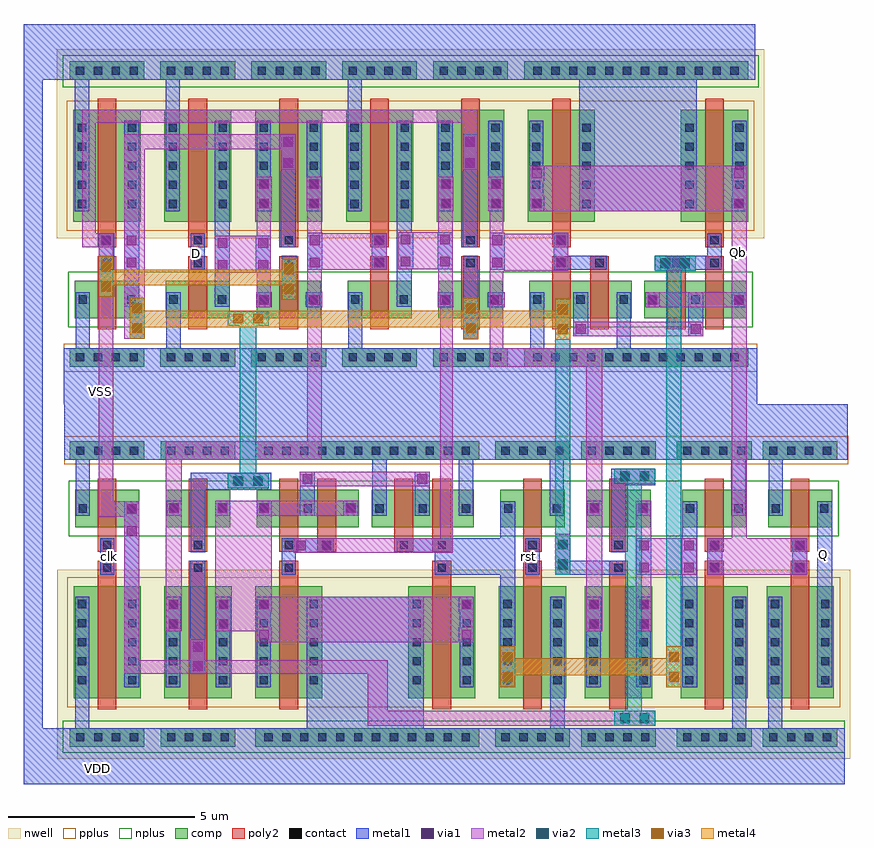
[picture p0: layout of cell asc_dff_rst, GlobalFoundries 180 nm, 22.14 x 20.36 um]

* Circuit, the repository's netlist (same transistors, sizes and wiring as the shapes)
** sch_path: /foss/designs/libs/core_analog/asc_dff_rst/asc_dff_rst.sch
.subckt asc_dff_rst clk D Qb vdd vss Q rst
*.PININFO clk:B vdd:B vss:B D:B Q:B Qb:B rst:B
x1 net3 vdd net2 vss inv1u05u
x2 clk vdd clkb vss inv1u05u
x3 net1 vss clkb net3 clka vdd pass1u05u
x5 net3 vss clka net6 clkb vdd pass1u05u
x6 net2 vss clka net5 clkb vdd pass1u05u
x8 Qb vdd net4 vss inv1u05u
x9 net5 vss clkb net4 clka vdd pass1u05u
x10 clkb vdd clka vss inv1u05u
x11 D vdd net1 vss inv1u05u
x12 Qb vdd Q vss inv1u05u
x13 rst vdd rstb vss inv1u05u
x4 vdd net6 net2 rstb vss asc_NAND
x7 vdd Qb rstb net5 vss asc_NAND
.ends

* expanding   symbol:  libs/core_analog/inv1u05u/inv1u05u.sym # of pins=4
** sym_path: /foss/designs/libs/core_analog/inv1u05u/inv1u05u.sym
** sch_path: /foss/designs/libs/core_analog/inv1u05u/inv1u05u.sch
.subckt inv1u05u in vdd out vss
*.PININFO in:B out:B vss:B vdd:B
M1 out in vdd vdd pfet_03v3 L=0.5u W=3.0u nf=1 m=1
M2 out in vss vss nfet_03v3 L=0.5u W=1.0u nf=1 m=1
.ends


* expanding   symbol:  libs/core_analog/pass1u05u/pass1u05u.sym # of pins=6
** sym_path: /foss/designs/libs/core_analog/pass1u05u/pass1u05u.sym
** sch_path: /foss/designs/libs/core_analog/pass1u05u/pass1u05u.sch
.subckt pass1u05u ind vss clkn ins clkp vdd
*.PININFO ind:B ins:B clkn:B clkp:B vdd:B vss:B
M1 ind clkp ins vdd pfet_03v3 L=0.5u W=3.0u nf=1 m=1
M2 ind clkn ins vss nfet_03v3 L=0.5u W=1.0u nf=1 m=1
.ends


* expanding   symbol:  libs/core_analog/asc_NAND/asc_NAND.sym # of pins=5
** sym_path: /foss/designs/libs/core_analog/asc_NAND/asc_NAND.sym
** sch_path: /foss/designs/libs/core_analog/asc_NAND/asc_NAND.sch
.subckt asc_NAND VDD OUT A B VSS
*.PININFO VDD:B VSS:B B:B A:B OUT:B
M1 OUT A net1 VSS nfet_03v3 L=0.5u W=2u nf=2 m=1
M2 OUT A VDD VDD pfet_03v3 L=0.5u W=3u nf=1 m=1
M3 net1 B VSS VSS nfet_03v3 L=0.5u W=2u nf=2 m=1
M4 OUT B VDD VDD pfet_03v3 L=0.5u W=3u nf=1 m=1
.ends

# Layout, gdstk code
from math import pi, radians
import gdstk
lib = gdstk.Library(unit=1e-6, precision=5e-09)
def R(c, l, rs):  # rectangles x0, y0, x1, y1
    for r in rs: c.add(gdstk.rectangle(r[:2], r[2:], *l))
def A(c, l, x, y, w, h, nx, ny, dx, dy):  # array of equal rectangles
    R(c, l, [(x+i*dx, y+j*dy, x+i*dx+w, y+j*dy+h) for i in range(nx) for j in range(ny)])
nwell = (21, 0)
comp = (22, 0)
poly2 = (30, 0)
pplus = (31, 0)
nplus = (32, 0)
contact = (33, 0)
metal1 = (34, 0)
via1 = (35, 0)
metal2 = (36, 0)
via2 = (38, 0)
via3 = (40, 0)
metal3 = (42, 0)
metal4 = (46, 0)

pfet = lib.new_cell('pfet')
R(pfet, nwell, [(-0.9,-0.44,1.78,3.44)])
R(pfet, comp, [(-0.46,0,0,3), (0,0,0.88,3), (0.88,0,1.34,3)])
R(pfet, poly2, [(0.19,-0.68,0.69,-0.3), (0.19,-0.3,0.69,3.3)])
R(pfet, pplus, [(-0.63,-0.24,1.51,3.24)])
A(pfet, contact, -0.34, 0.37, 0.22, 0.22, 1, 5, 0, 0.51)
A(pfet, contact, 1, 0.37, 0.22, 0.22, 1, 5, 0, 0.51)
R(pfet, contact, [(0.33,-0.6,0.55,-0.38)])
R(pfet, metal1, [(0.25,-0.68,0.63,-0.3), (-0.42,0.29,-0.04,2.71), (0.92,0.29,1.3,2.71)])

via_dev = lib.new_cell('via_dev')
R(via_dev, comp, [(0,0,2,0.5)])
A(via_dev, contact, 0.17, 0.14, 0.22, 0.22, 4, 1, 0.48, 0)
R(via_dev, metal1, [(0,0,2,0.5)])

nfet = lib.new_cell('nfet')
R(nfet, comp, [(-0.42,0,0,1), (0,0,0.88,1), (0.88,0,1.3,1)])
R(nfet, poly2, [(0.19,-0.3,0.69,1.3), (0.19,1.3,0.69,1.66)])
R(nfet, nplus, [(-0.59,-0.24,1.47,1.24)])
R(nfet, contact, [(-0.32,0.39,-0.1,0.61), (0.98,0.39,1.2,0.61), (0.33,1.37,0.55,1.59)])
R(nfet, metal1, [(-0.4,0.31,-0.02,0.69), (0.9,0.31,1.28,0.69), (0.25,1.29,0.63,1.67)])

via_dev_2 = lib.new_cell('via_dev$2')
R(via_dev_2, metal1, [(0,0,0.4,0.4)])
R(via_dev_2, via1, [(0.07,0.07,0.33,0.33)])
R(via_dev_2, metal2, [(0,0,0.4,0.4)])

via_dev_6 = lib.new_cell('via_dev$6')
R(via_dev_6, comp, [(0,0,6,0.5)])
A(via_dev_6, contact, 0.25, 0.14, 0.22, 0.22, 12, 1, 0.48, 0)
R(via_dev_6, metal1, [(0,0,6,0.5)])

nfet_2 = lib.new_cell('nfet$2')
R(nfet_2, comp, [(-0.42,0,0,1), (0,0,1.9,1), (1.9,0,2.32,1)])
R(nfet_2, poly2, [(0.19,-0.3,0.69,1.3), (1.21,-0.3,1.71,1.3), (0.19,1.3,0.69,1.66), (1.21,1.3,1.71,1.66)])
R(nfet_2, nplus, [(-0.59,-0.24,2.49,1.24)])
A(nfet_2, contact, -0.32, 0.39, 0.22, 0.22, 3, 1, 1.16, 0)
R(nfet_2, contact, [(0.33,1.37,0.55,1.59), (1.35,1.37,1.57,1.59)])
A(nfet_2, metal1, -0.4, 0.31, 0.38, 0.38, 3, 1, 1.16, 0)
R(nfet_2, metal1, [(0.25,1.29,0.63,1.67), (1.27,1.29,1.65,1.67)])

pfet_2 = lib.new_cell('pfet$2')
R(pfet_2, nwell, [(-0.9,-0.44,1.78,3.44)])
R(pfet_2, comp, [(-0.46,0,0,3), (0,0,0.88,3), (0.88,0,1.34,3)])
R(pfet_2, poly2, [(0.19,-0.68,0.69,-0.3), (0.19,-0.3,0.69,3.3)])
R(pfet_2, pplus, [(-0.63,-0.24,1.51,3.24)])
A(pfet_2, contact, -0.34, 0.37, 0.22, 0.22, 1, 5, 0, 0.51)
A(pfet_2, contact, 1, 0.37, 0.22, 0.22, 1, 5, 0, 0.51)
R(pfet_2, contact, [(0.33,-0.6,0.55,-0.38)])
R(pfet_2, metal1, [(0.25,-0.68,0.63,-0.3), (-0.42,0.29,-0.04,2.71), (0.92,0.29,1.3,2.71)])

via_dev_8 = lib.new_cell('via_dev$8')
R(via_dev_8, metal1, [(0,0,0.4,0.4)])
R(via_dev_8, via1, [(0.07,0.07,0.33,0.33)])
R(via_dev_8, metal2, [(0,0,0.4,0.4)])

via_dev_5 = lib.new_cell('via_dev$5')
R(via_dev_5, metal1, [(0,0,0.4,0.4)])
R(via_dev_5, via1, [(0.07,0.07,0.33,0.33)])
R(via_dev_5, metal2, [(0,0,0.4,0.4)])

via_dev_7 = lib.new_cell('via_dev$7')

via_dev_10 = lib.new_cell('via_dev$10')
R(via_dev_10, metal1, [(0,0,1.1,0.4)])
R(via_dev_10, via1, [(0.155,0.07,0.415,0.33), (0.685,0.07,0.945,0.33)])
R(via_dev_10, metal2, [(0,0,1.1,0.4)])
R(via_dev_10, via2, [(0.155,0.07,0.415,0.33), (0.685,0.07,0.945,0.33)])
R(via_dev_10, metal3, [(0,0,1.1,0.4)])

via_dev_11 = lib.new_cell('via_dev$11')
R(via_dev_11, metal1, [(0,0,1.1,0.4)])
R(via_dev_11, via1, [(0.155,0.07,0.415,0.33), (0.685,0.07,0.945,0.33)])
R(via_dev_11, metal2, [(0,0,1.1,0.4)])
R(via_dev_11, via2, [(0.155,0.07,0.415,0.33), (0.685,0.07,0.945,0.33)])
R(via_dev_11, via3, [(0.155,0.07,0.415,0.33), (0.685,0.07,0.945,0.33)])
R(via_dev_11, metal3, [(0,0,1.1,0.4)])
R(via_dev_11, metal4, [(0,0,1.1,0.4)])

via_dev_13 = lib.new_cell('via_dev$13')
R(via_dev_13, via3, [(0.155,0.07,0.415,0.33), (0.685,0.07,0.945,0.33)])
R(via_dev_13, metal3, [(0,0,1.1,0.4)])
R(via_dev_13, metal4, [(0,0,1.1,0.4)])

via_dev_3 = lib.new_cell('via_dev$3')
R(via_dev_3, comp, [(0,0,2,0.5)])
A(via_dev_3, contact, 0.17, 0.14, 0.22, 0.22, 4, 1, 0.48, 0)
R(via_dev_3, metal1, [(0,0,2,0.5)])

nfet_1 = lib.new_cell('nfet$1')
R(nfet_1, comp, [(-0.42,0,0,1), (0,0,0.88,1), (0.88,0,1.3,1)])
R(nfet_1, poly2, [(0.19,-0.3,0.69,1.3), (0.19,1.3,0.69,1.66)])
R(nfet_1, nplus, [(-0.59,-0.24,1.47,1.24)])
R(nfet_1, contact, [(-0.32,0.39,-0.1,0.61), (0.98,0.39,1.2,0.61), (0.33,1.37,0.55,1.59)])
R(nfet_1, metal1, [(-0.4,0.31,-0.02,0.69), (0.9,0.31,1.28,0.69), (0.25,1.29,0.63,1.67)])

via_dev_4 = lib.new_cell('via_dev$4')

via_dev_1 = lib.new_cell('via_dev$1')

pfet_1 = lib.new_cell('pfet$1')
R(pfet_1, nwell, [(-0.9,-0.44,1.78,3.44)])
R(pfet_1, comp, [(-0.46,0,0,3), (0,0,0.88,3), (0.88,0,1.34,3)])
R(pfet_1, poly2, [(0.19,-0.68,0.69,-0.3), (0.19,-0.3,0.69,3.3)])
R(pfet_1, pplus, [(-0.63,-0.24,1.51,3.24)])
A(pfet_1, contact, -0.34, 0.37, 0.22, 0.22, 1, 5, 0, 0.51)
A(pfet_1, contact, 1, 0.37, 0.22, 0.22, 1, 5, 0, 0.51)
R(pfet_1, contact, [(0.33,-0.6,0.55,-0.38)])
R(pfet_1, metal1, [(0.25,-0.68,0.63,-0.3), (-0.42,0.29,-0.04,2.71), (0.92,0.29,1.3,2.71)])

via_dev_12 = lib.new_cell('via_dev$12')
R(via_dev_12, metal2, [(0,0,1.1,0.4)])
R(via_dev_12, via2, [(0.155,0.07,0.415,0.33), (0.685,0.07,0.945,0.33)])
R(via_dev_12, via3, [(0.155,0.07,0.415,0.33), (0.685,0.07,0.945,0.33)])
R(via_dev_12, metal3, [(0,0,1.1,0.4)])
R(via_dev_12, metal4, [(0,0,1.1,0.4)])

via_dev_9 = lib.new_cell('via_dev$9')
R(via_dev_9, metal2, [(0,0,1.1,0.4)])
R(via_dev_9, via2, [(0.155,0.07,0.415,0.33), (0.685,0.07,0.945,0.33)])
R(via_dev_9, metal3, [(0,0,1.1,0.4)])

asc_dff_rst = lib.new_cell('asc_dff_rst')
A(asc_dff_rst, nwell, -60.115, 47.205, 2.68, 1.185, 5, 1, 2.435, 0)
R(asc_dff_rst, nwell, [(-60.11,29.38,-57.43,30.565), (-57.675,29.38,-54.995,30.565), (-55.245,29.38,-48.465,30.565), (-48.715,29.38,-46.035,30.565), (-46.41,29.38,-43.73,30.565), (-43.845,29.38,-41.165,30.565), (-41.545,29.38,-38.865,30.565), (-52.565,30.565,-51.145,34.445), (-45.26,43.325,-43.84,47.205), (-47.94,47.205,-41.16,48.39)])
A(asc_dff_rst, pplus, -59.925, 39.745, 2.435, 0.75, 5, 1, 2.435, 0)
A(asc_dff_rst, pplus, -57.705, 43.525, 0.295, 3.48, 5, 1, 2.435, 0)
R(asc_dff_rst, pplus, [(-57.7,30.765,-57.405,34.245), (-55.265,30.765,-54.975,34.245), (-52.835,30.765,-50.875,34.245), (-48.735,30.765,-48.575,34.245), (-48.575,30.765,-48.445,34.245), (-46.435,30.765,-46.14,34.245), (-44,30.765,-43.705,34.245), (-43.705,30.765,-43.565,34.245), (-41.435,30.765,-41.275,34.245), (-59.92,37.275,-57.485,38.025), (-57.485,37.275,-55.05,38.025), (-48.66,37.275,-46.225,38.025), (-46.225,37.275,-46.22,38.025), (-46.22,37.275,-43.785,38.025), (-43.79,37.275,-41.355,38.025), (-41.355,37.275,-38.92,38.025), (-45.53,43.525,-43.57,47.005)])
A(asc_dff_rst, nplus, -57.745, 40.945, 0.375, 1.48, 5, 1, 2.435, 0)
A(asc_dff_rst, nplus, -59.96, 47.365, 2.385, 0.865, 5, 1, 2.435, 0)
A(asc_dff_rst, nplus, -57.575, 47.365, 0.05, 0.865, 5, 1, 2.435, 0)
R(asc_dff_rst, nplus, [(-59.955,29.54,-57.57,30.405), (-57.57,29.54,-57.52,30.405), (-57.52,29.54,-55.135,30.405), (-55.135,29.54,-55.09,30.405), (-55.09,29.54,-48.62,30.405), (-48.62,29.54,-48.57,30.405), (-48.575,29.54,-46.19,30.405), (-46.305,29.54,-46.255,30.405), (-46.255,29.54,-43.87,30.405), (-43.87,29.54,-43.82,30.405), (-43.82,29.54,-43.7,30.405), (-43.705,29.54,-41.32,30.405), (-41.39,29.54,-39.005,30.405), (-57.74,35.345,-57.365,36.825), (-55.305,35.345,-54.935,36.825), (-48.775,35.345,-48.535,36.825), (-48.535,35.345,-48.4,36.825), (-46.475,35.345,-46.1,36.825), (-44.04,35.345,-43.665,36.825), (-43.665,35.345,-43.535,36.825), (-41.475,35.345,-41.235,36.825), (-47.785,47.365,-41.315,48.23)])
A(asc_dff_rst, metal1, -48.655, 37.385, 2.43, 1.5, 3, 1, 2.435, 0)
A(asc_dff_rst, metal1, -59.925, 38.885, 2.43, 1.5, 5, 1, 2.435, 0)
A(asc_dff_rst, metal1, -57.495, 38.885, 0.005, 1.5, 5, 1, 2.435, 0)
A(asc_dff_rst, metal1, -59.925, 39.885, 0.15, 0.5, 6, 2, 2.435, 7.68)
A(asc_dff_rst, metal1, -57.18, 39.885, 0.38, 1.99, 3, 1, 4.87, 0)
A(asc_dff_rst, metal1, -56.53, 42.475, 0.38, 0.99, 3, 1, 4.87, 0)
A(asc_dff_rst, metal1, -59.925, 47.565, 2.35, 1.5, 5, 1, 2.435, 0)
A(asc_dff_rst, metal1, -57.575, 47.565, 0.085, 1.5, 5, 1, 2.435, 0)
R(asc_dff_rst, metal1, [(-61,28.705,-60.5,49.065), (-61,28.705,-59.92,30.205), (-59.92,28.705,-57.57,30.205), (-57.57,28.705,-57.485,30.205), (-57.485,28.705,-55.135,30.205), (-55.135,28.705,-54.995,30.205), (-54.995,28.705,-48.655,30.205), (-48.655,28.705,-48.575,30.205), (-48.575,28.705,-46.225,30.205), (-46.305,28.705,-46.22,30.205), (-46.22,28.705,-43.87,30.205), (-43.87,28.705,-43.785,30.205), (-43.785,28.705,-43.705,30.205), (-43.705,28.705,-41.355,30.205), (-41.355,28.705,-39.005,30.205), (-59.92,29.705,-59.77,30.205), (-59.63,29.705,-59.25,33.715), (-57.485,29.705,-57.335,30.205), (-54.995,29.705,-54.805,30.205), (-48.805,29.705,-48.655,30.205), (-46.895,29.705,-46.515,33.715), (-46.375,29.705,-46.225,30.205), (-46.22,29.705,-46.07,30.205), (-42.025,29.705,-41.645,33.715), (-41.505,29.705,-41.355,30.205), (-41.355,29.705,-41.205,30.205), (-41.065,29.705,-40.685,33.715), (-53.425,30.205,-50.285,33.715), (-58.31,31.295,-57.91,36.275), (-48.235,31.295,-47.835,36.275), (-43.365,31.295,-42.965,36.275), (-39.745,31.295,-39.345,36.275), (-56.54,31.66,-56.14,34.685), (-56.82,33.195,-56.795,33.315), (-55.475,33.195,-55.455,33.315), (-45.555,33.195,-45.53,33.315), (-44.21,33.195,-44.19,33.315), (-58.96,34.305,-58.58,35.295), (-54.095,34.305,-53.715,35.295), (-49.995,34.305,-49.615,35.295), (-49.995,34.305,-47.835,35.295), (-47.565,34.305,-47.185,35.295), (-46.765,34.305,-44.88,34.685), (-42.695,34.305,-42.315,35.295), (-40.395,34.305,-40.015,35.295), (-44.59,34.705,-44.19,34.895), (-43.38,34.705,-43.365,34.895), (-42.315,34.705,-42.295,34.895), (-40.415,34.705,-40.395,34.895), (-54.095,34.915,-52.695,35.295), (-51.015,34.915,-49.615,35.295), (-45.26,34.915,-44.88,37.15), (-56.525,35.295,-56.145,37.045), (-59.61,35.895,-59.23,37.885), (-53.605,35.895,-53.205,37.075), (-51.665,35.895,-51.285,37.885), (-50.525,35.895,-50.125,37.075), (-49.345,35.895,-48.965,37.885), (-46.915,35.895,-46.535,37.885), (-42.045,35.895,-41.665,37.885), (-41.045,35.895,-40.665,37.885), (-56.525,36.585,-54.375,37.045), (-45.26,36.715,-44.085,37.15), (-59.92,37.385,-57.49,38.885), (-59.92,37.385,-59.77,37.885), (-57.49,37.385,-57.485,38.885), (-57.485,37.385,-55.055,38.885), (-57.485,37.385,-57.335,37.885), (-55.055,37.385,-55.04,38.885), (-55.05,37.385,-48.655,38.885), (-55.05,37.385,-54.805,37.885), (-48.805,37.385,-48.655,37.885), (-46.375,37.385,-46.225,37.885), (-46.225,37.385,-46.22,38.885), (-46.22,37.385,-46.07,37.885), (-43.79,37.385,-43.785,38.885), (-41.505,37.385,-41.355,37.885), (-41.355,37.385,-38.925,38.885), (-41.355,37.385,-41.205,37.885), (-47.75,38.885,-41.355,40.385), (-59.615,39.885,-59.235,41.875), (-45.12,39.885,-44.74,41.875), (-41.6,39.885,-41.355,40.385), (-46.28,40.695,-45.88,41.875), (-43.2,40.695,-42.8,41.875), (-54.38,41.475,-54.365,41.495), (-49.515,41.475,-49.495,41.495), (-48.575,41.475,-48.52,41.495), (-58.315,41.495,-57.915,46.475), (-55.88,41.495,-55.48,46.475), (-51.01,41.495,-50.61,46.475), (-49.225,41.725,-48.825,42.475), (-58.965,42.475,-58.585,43.465), (-46.79,42.475,-45.39,42.855), (-43.71,42.475,-42.31,42.855), (-42.69,42.475,-42.31,43.465), (-53.715,42.78,-53.695,42.855), (-54.785,42.8,-54.385,42.995), (-59,42.875,-58.965,43.065), (-53.405,42.875,-53.005,43.07), (-51.68,42.875,-51.66,43.065), (-48.52,42.875,-48.12,43.07), (-46.81,42.875,-46.79,43.07), (-50.61,42.9,-50.575,43.09), (-49.915,42.9,-49.515,43.09), (-54.115,43.085,-53.715,45.915), (-49.245,43.085,-48.845,45.915), (-59.635,44.055,-59.255,48.065), (-57.2,44.055,-56.82,48.065), (-52.33,44.055,-51.95,48.065), (-46.12,44.055,-42.98,47.565), (-54.39,44.455,-54.365,44.575), (-53.045,44.455,-53.025,44.575), (-49.52,44.455,-49.495,44.575), (-48.175,44.455,-48.155,44.575), (-61,47.565,-59.925,49.065), (-47.75,47.565,-41.41,49.065), (-41.6,47.565,-41.41,48.065)])
R(asc_dff_rst, metal2, [(-51.785,30.26,-44.085,30.665), (-51.785,30.26,-51.25,32.025), (-58.31,31.66,-57.91,36.275), (-58.31,31.66,-56.14,32.025), (-56.54,31.66,-56.14,32.58), (-56.54,31.66,-51.25,32.025), (-54.765,32.505,-54.365,36.295), (-54.765,32.505,-48.945,33.715), (-49.345,32.505,-48.945,33.715), (-57.195,32.795,-56.775,36.295), (-55.875,32.795,-55.455,36.295), (-55.875,32.795,-54.365,36.295), (-45.93,32.795,-45.51,36.295), (-44.61,32.795,-44.19,36.295), (-55.475,33.195,-55.455,33.315), (-44.21,33.195,-44.19,33.315), (-44.61,34.305,-42.98,35.295), (-42.695,34.305,-40.015,35.295), (-42.04,34.305,-41.64,41.97), (-53.775,34.895,-49.515,35.295), (-49.845,34.895,-49.515,41.665), (-59,35.87,-58.6,43.465), (-59,35.87,-57.91,36.275), (-54.765,35.895,-52.045,36.295), (-57.195,36.08,-56.775,37.885), (-45.93,36.295,-45.51,40.385), (-53.605,36.675,-50.125,37.075), (-57.19,37.385,-53.025,37.885), (-53.405,37.385,-53.025,41.585), (-48.525,39.885,-45.51,40.385), (-48.525,39.885,-48.155,41.71), (-58.315,40.635,-57.765,46.11), (-46.28,40.695,-42.8,41.095), (-54.765,41.475,-54.38,44.975), (-53.405,41.475,-53.025,44.975), (-49.895,41.475,-49.515,44.975), (-48.52,41.475,-48.155,44.975), (-44.36,41.475,-41.64,41.875), (-42.04,41.475,-41.64,45.265), (-55.88,42.405,-54.385,43.395), (-48.52,42.455,-46.41,43.45), (-53.025,42.475,-51.28,43.465), (-50.975,42.5,-49.515,43.49), (-59.435,43.085,-58.6,43.465), (-59.435,43.085,-59.075,46.765), (-47.46,44.055,-47.06,45.265), (-47.46,44.055,-41.64,45.265), (-54.38,44.455,-54.365,44.575), (-53.425,44.455,-53.405,44.575), (-53.045,44.455,-53.025,44.575), (-49.515,44.455,-49.495,44.575), (-48.555,44.455,-48.515,44.575), (-48.175,44.455,-48.155,44.575), (-54.115,45.145,-53.715,46.11), (-49.245,45.145,-48.845,46.765), (-58.315,45.71,-53.715,46.11), (-59.43,46.415,-48.85,46.765)])
R(asc_dff_rst, metal3, [(-44.89,30.265,-44.445,37.15), (-43.785,31.295,-43.385,42.855), (-46.765,35.405,-46.365,41.38), (-55.22,36.625,-54.77,41.375)])
R(asc_dff_rst, metal4, [(-48.235,31.62,-43.385,32.07), (-58.165,40.945,-46.365,41.38), (-59,42.07,-53.695,42.485)])
asc_dff_rst.add(gdstk.FlexPath([(-47.75,40.12),(-41.355,40.12)], 0.75, ends="flush", simple_path=True, layer=31, datatype=0))  # pplus
asc_dff_rst.add(gdstk.FlexPath([(-48.655,37.65),(-55.05,37.65)], 0.75, ends="flush", simple_path=True, layer=31, datatype=0))  # pplus
asc_dff_rst.add(gdstk.Reference(pfet, (-49.475,43.765)))
asc_dff_rst.add(gdstk.Reference(via_dev, (-50.035,47.565)))
asc_dff_rst.add(gdstk.Reference(via_dev, (-50.035,39.885)))
asc_dff_rst.add(gdstk.Reference(nfet, (-49.475,41.185)))
asc_dff_rst.add(gdstk.Reference(via_dev_2, (-49.915,41.475)))
asc_dff_rst.add(gdstk.Reference(via_dev_2, (-49.895,44.055)))
asc_dff_rst.add(gdstk.Reference(via_dev_2, (-49.895,44.575)))
asc_dff_rst.add(gdstk.Reference(via_dev_6, (-48.805,30.205), rotation=pi))
asc_dff_rst.add(gdstk.Reference(via_dev_6, (-48.805,37.885), rotation=pi))
asc_dff_rst.add(gdstk.Reference(nfet_2, (-49.365,36.585), rotation=pi))
asc_dff_rst.add(gdstk.Reference(pfet_2, (-49.365,34.005), rotation=pi))
asc_dff_rst.add(gdstk.Reference(via_dev_8, (-49.915,43.09)))
asc_dff_rst.add(gdstk.Reference(via_dev_8, (-49.915,42.5)))
asc_dff_rst.add(gdstk.Reference(via_dev_5, (-42.04,44.055)))
asc_dff_rst.add(gdstk.Reference(via_dev_6, (-47.6,47.565)))
asc_dff_rst.add(gdstk.Reference(via_dev_6, (-47.6,39.885)))
asc_dff_rst.add(gdstk.Reference(pfet_2, (-42.94,43.765)))
asc_dff_rst.add(gdstk.Reference(via_dev_5, (-42.04,41.475)))
asc_dff_rst.add(gdstk.Reference(via_dev_5, (-44.36,41.475)))
asc_dff_rst.add(gdstk.Reference(via_dev_5, (-46.28,40.695)))
asc_dff_rst.add(gdstk.Reference(nfet_2, (-47.04,41.185)))
asc_dff_rst.add(gdstk.Reference(nfet_2, (-43.96,41.185)))
asc_dff_rst.add(gdstk.Reference(pfet_2, (-47.04,43.765)))
asc_dff_rst.add(gdstk.Reference(via_dev_2, (-48.555,44.055)))
asc_dff_rst.add(gdstk.Reference(via_dev_2, (-48.555,44.575)))
asc_dff_rst.add(gdstk.Reference(via_dev_5, (-47.46,44.865)))
asc_dff_rst.add(gdstk.Reference(via_dev_7, (-48.4,39.295), rotation=pi/2))
asc_dff_rst.add(gdstk.Reference(via_dev_2, (-48.52,41.475)))
asc_dff_rst.add(gdstk.Reference(via_dev_5, (-47.46,44.055)))
asc_dff_rst.add(gdstk.Reference(via_dev_5, (-43.2,40.695)))
asc_dff_rst.add(gdstk.Reference(via_dev_8, (-46.81,43.07)))
asc_dff_rst.add(gdstk.Reference(via_dev_8, (-46.81,42.475)))
asc_dff_rst.add(gdstk.Reference(via_dev_8, (-48.52,42.475)))
asc_dff_rst.add(gdstk.Reference(via_dev_8, (-48.52,43.07)))
asc_dff_rst.add(gdstk.Reference(via_dev_10, (-44.105,42.455)))
asc_dff_rst.add(gdstk.Reference(via_dev_11, (-48.825,40.625), rotation=pi/2))
asc_dff_rst.add(gdstk.Reference(via_dev_8, (-49.245,45.145)))
asc_dff_rst.add(gdstk.Reference(via_dev_8, (-49.245,45.71)))
asc_dff_rst.add(gdstk.Reference(via_dev_5, (-42.04,44.865)))
asc_dff_rst.add(gdstk.Reference(via_dev_13, (-46.365,40.605), rotation=pi/2))
asc_dff_rst.add(gdstk.Reference(via_dev_2, (-54.765,44.055)))
asc_dff_rst.add(gdstk.Reference(via_dev_2, (-54.765,44.575)))
asc_dff_rst.add(gdstk.Reference(via_dev_3, (-52.47,47.565)))
asc_dff_rst.add(gdstk.Reference(via_dev_3, (-59.775,47.565)))
asc_dff_rst.add(gdstk.Reference(via_dev_8, (-54.785,42.995)))
asc_dff_rst.add(gdstk.Reference(via_dev_3, (-57.34,47.565)))
asc_dff_rst.add(gdstk.Reference(via_dev_3, (-57.34,39.885)))
asc_dff_rst.add(gdstk.Reference(nfet_1, (-56.78,41.185)))
asc_dff_rst.add(gdstk.Reference(via_dev_4, (-60.575,39.295), rotation=pi/2))
asc_dff_rst.add(gdstk.Reference(via_dev_1, (-50.835,39.295), rotation=pi/2))
asc_dff_rst.add(gdstk.Reference(via_dev_1, (-55.705,39.295), rotation=pi/2))
asc_dff_rst.add(gdstk.Reference(via_dev_4, (-53.27,39.295), rotation=pi/2))
asc_dff_rst.add(gdstk.Reference(via_dev_3, (-59.775,39.885)))
asc_dff_rst.add(gdstk.Reference(nfet_1, (-59.215,41.185)))
asc_dff_rst.add(gdstk.Reference(via_dev_4, (-58.14,39.295), rotation=pi/2))
asc_dff_rst.add(gdstk.Reference(pfet_1, (-59.215,43.765)))
asc_dff_rst.add(gdstk.Reference(via_dev_8, (-54.785,42.405)))
asc_dff_rst.add(gdstk.Reference(via_dev_8, (-55.88,42.995)))
asc_dff_rst.add(gdstk.Reference(via_dev_8, (-55.88,42.405)))
asc_dff_rst.add(gdstk.Reference(via_dev_8, (-53.405,43.07)))
asc_dff_rst.add(gdstk.Reference(via_dev_8, (-53.405,42.475)))
asc_dff_rst.add(gdstk.Reference(via_dev_8, (-51.68,43.065)))
asc_dff_rst.add(gdstk.Reference(via_dev_8, (-51.68,42.475)))
asc_dff_rst.add(gdstk.Reference(pfet_1, (-56.78,43.765)))
asc_dff_rst.add(gdstk.Reference(via_dev_3, (-52.47,39.885)))
asc_dff_rst.add(gdstk.Reference(via_dev_8, (-50.975,43.09)))
asc_dff_rst.add(gdstk.Reference(via_dev_8, (-50.975,42.5)))
asc_dff_rst.add(gdstk.Reference(nfet_1, (-51.91,41.185)))
asc_dff_rst.add(gdstk.Reference(pfet_1, (-51.91,43.765)))
asc_dff_rst.add(gdstk.Reference(via_dev, (-54.905,47.565)))
asc_dff_rst.add(gdstk.Reference(via_dev, (-54.905,39.885)))
asc_dff_rst.add(gdstk.Reference(via_dev_8, (-59,43.065)))
asc_dff_rst.add(gdstk.Reference(via_dev_8, (-59,42.475)))
asc_dff_rst.add(gdstk.Reference(via_dev_8, (-58.315,43.065)))
asc_dff_rst.add(gdstk.Reference(via_dev_8, (-58.315,42.475)))
asc_dff_rst.add(gdstk.Reference(nfet, (-54.345,41.185)))
asc_dff_rst.add(gdstk.Reference(pfet, (-54.345,43.765)))
asc_dff_rst.add(gdstk.Reference(via_dev_2, (-54.78,41.475)))
asc_dff_rst.add(gdstk.Reference(via_dev_8, (-54.115,45.145)))
asc_dff_rst.add(gdstk.Reference(via_dev_8, (-54.115,45.71)))
asc_dff_rst.add(gdstk.Reference(via_dev_2, (-53.405,41.475)))
asc_dff_rst.add(gdstk.Reference(via_dev_2, (-53.425,44.055)))
asc_dff_rst.add(gdstk.Reference(via_dev_2, (-53.425,44.575)))
asc_dff_rst.add(gdstk.Reference(via_dev_11, (-53.695,41.68), rotation=pi/2))
asc_dff_rst.add(gdstk.Reference(via_dev_12, (-57.765,40.635), rotation=pi/2))
asc_dff_rst.add(gdstk.Reference(via_dev_13, (-55.54,40.975)))
asc_dff_rst.add(gdstk.Reference(via_dev_12, (-58.6,41.755), rotation=pi/2))
asc_dff_rst.add(gdstk.Reference(nfet, (-56.775,36.585), x_reflection=True))
asc_dff_rst.add(gdstk.Reference(via_dev_5, (-54.365,32.905), rotation=pi))
asc_dff_rst.add(gdstk.Reference(via_dev_2, (-57.175,36.295), x_reflection=True))
asc_dff_rst.add(gdstk.Reference(via_dev_2, (-55.875,36.295), x_reflection=True))
asc_dff_rst.add(gdstk.Reference(via_dev_2, (-55.855,33.715), x_reflection=True))
asc_dff_rst.add(gdstk.Reference(via_dev_2, (-55.855,33.195), x_reflection=True))
asc_dff_rst.add(gdstk.Reference(via_dev_2, (-57.195,33.715), x_reflection=True))
asc_dff_rst.add(gdstk.Reference(via_dev_2, (-57.195,33.195), x_reflection=True))
asc_dff_rst.add(gdstk.Reference(via_dev_8, (-53.375,35.295), rotation=pi))
asc_dff_rst.add(gdstk.Reference(via_dev_8, (-52.695,35.295), rotation=pi))
asc_dff_rst.add(gdstk.Reference(via_dev_5, (-54.365,33.715), rotation=pi))
asc_dff_rst.add(gdstk.Reference(via_dev_3, (-59.77,37.885), x_reflection=True))
asc_dff_rst.add(gdstk.Reference(nfet_1, (-59.21,36.585), x_reflection=True))
asc_dff_rst.add(gdstk.Reference(via_dev_1, (-58.135,38.475), rotation=3*pi/2, x_reflection=True))
asc_dff_rst.add(gdstk.Reference(via_dev_8, (-58.31,35.875)))
asc_dff_rst.add(gdstk.Reference(via_dev_8, (-58.31,35.285)))
asc_dff_rst.add(gdstk.Reference(pfet_1, (-59.21,34.005), x_reflection=True))
asc_dff_rst.add(gdstk.Reference(via_dev_10, (-55.54,36.625)))
asc_dff_rst.add(gdstk.Reference(pfet, (-56.775,34.005), x_reflection=True))
asc_dff_rst.add(gdstk.Reference(pfet_2, (-53.465,34.005), rotation=pi))
asc_dff_rst.add(gdstk.Reference(via_dev_5, (-54.365,36.295), rotation=pi))
asc_dff_rst.add(gdstk.Reference(via_dev_5, (-52.045,36.295), rotation=pi))
asc_dff_rst.add(gdstk.Reference(via_dev_5, (-50.125,37.075), rotation=pi))
asc_dff_rst.add(gdstk.Reference(via_dev_4, (-60.57,38.475), rotation=3*pi/2, x_reflection=True))
asc_dff_rst.add(gdstk.Reference(via_dev_3, (-59.77,30.205), x_reflection=True))
asc_dff_rst.add(gdstk.Reference(nfet_2, (-52.445,36.585), rotation=pi))
asc_dff_rst.add(gdstk.Reference(via_dev_5, (-53.205,37.075), rotation=pi))
asc_dff_rst.add(gdstk.Reference(via_dev_8, (-56.54,32.06), x_reflection=True))
asc_dff_rst.add(gdstk.Reference(via_dev_8, (-56.54,32.58), x_reflection=True))
asc_dff_rst.add(gdstk.Reference(via_dev, (-57.335,30.205), x_reflection=True))
asc_dff_rst.add(gdstk.Reference(via_dev, (-57.335,37.885), x_reflection=True))
asc_dff_rst.add(gdstk.Reference(via_dev_3, (-41.505,37.885), rotation=pi))
asc_dff_rst.add(gdstk.Reference(nfet_1, (-42.065,36.585), rotation=pi))
asc_dff_rst.add(gdstk.Reference(via_dev_4, (-40.705,38.475), rotation=3*pi/2))
asc_dff_rst.add(gdstk.Reference(pfet_1, (-42.065,34.005), rotation=pi))
asc_dff_rst.add(gdstk.Reference(via_dev, (-46.07,30.205), x_reflection=True))
asc_dff_rst.add(gdstk.Reference(via_dev, (-46.07,37.885), x_reflection=True))
asc_dff_rst.add(gdstk.Reference(nfet, (-45.51,36.585), x_reflection=True))
asc_dff_rst.add(gdstk.Reference(via_dev_4, (-45.575,38.475), rotation=3*pi/2))
asc_dff_rst.add(gdstk.Reference(via_dev_2, (-45.91,36.295), x_reflection=True))
asc_dff_rst.add(gdstk.Reference(via_dev_2, (-44.61,36.295), x_reflection=True))
asc_dff_rst.add(gdstk.Reference(via_dev_8, (-43.38,34.705), x_reflection=True))
asc_dff_rst.add(gdstk.Reference(via_dev_8, (-43.38,35.295), x_reflection=True))
asc_dff_rst.add(gdstk.Reference(via_dev_8, (-44.59,34.705), x_reflection=True))
asc_dff_rst.add(gdstk.Reference(via_dev_8, (-44.59,35.295), x_reflection=True))
asc_dff_rst.add(gdstk.Reference(via_dev_2, (-44.59,33.715), x_reflection=True))
asc_dff_rst.add(gdstk.Reference(via_dev_2, (-44.59,33.195), x_reflection=True))
asc_dff_rst.add(gdstk.Reference(via_dev_3, (-41.205,37.885), x_reflection=True))
asc_dff_rst.add(gdstk.Reference(nfet_1, (-40.645,36.585), x_reflection=True))
asc_dff_rst.add(gdstk.Reference(via_dev_2, (-45.93,33.715), x_reflection=True))
asc_dff_rst.add(gdstk.Reference(pfet_1, (-40.645,34.005), x_reflection=True))
asc_dff_rst.add(gdstk.Reference(via_dev_2, (-45.93,33.195), x_reflection=True))
asc_dff_rst.add(gdstk.Reference(via_dev_5, (-48.945,33.715), rotation=pi))
asc_dff_rst.add(gdstk.Reference(via_dev_11, (-47.835,31.295), rotation=pi/2))
asc_dff_rst.add(gdstk.Reference(via_dev_13, (-43.385,31.295), rotation=pi/2))
asc_dff_rst.add(gdstk.Reference(via_dev_4, (-42.005,38.475), rotation=3*pi/2, x_reflection=True))
asc_dff_rst.add(gdstk.Reference(via_dev_3, (-41.505,30.205), rotation=pi))
asc_dff_rst.add(gdstk.Reference(pfet, (-45.51,34.005), x_reflection=True))
asc_dff_rst.add(gdstk.Reference(via_dev_5, (-48.945,32.905), rotation=pi))
asc_dff_rst.add(gdstk.Reference(via_dev_7, (-48.005,38.475), rotation=3*pi/2))
asc_dff_rst.add(gdstk.Reference(via_dev_3, (-46.375,30.205), rotation=pi))
asc_dff_rst.add(gdstk.Reference(via_dev_3, (-41.205,30.205), x_reflection=True))
asc_dff_rst.add(gdstk.Reference(via_dev_3, (-46.375,37.885), rotation=pi))
asc_dff_rst.add(gdstk.Reference(nfet_1, (-46.935,36.585), rotation=pi))
asc_dff_rst.add(gdstk.Reference(via_dev_8, (-42.695,34.705), x_reflection=True))
asc_dff_rst.add(gdstk.Reference(via_dev_8, (-42.695,35.295), x_reflection=True))
asc_dff_rst.add(gdstk.Reference(via_dev_9, (-44.085,30.665), rotation=pi))
asc_dff_rst.add(gdstk.Reference(via_dev_10, (-46.365,34.305), rotation=pi/2))
asc_dff_rst.add(gdstk.Reference(via_dev_8, (-40.415,35.295), x_reflection=True))
asc_dff_rst.add(gdstk.Reference(via_dev_8, (-40.415,34.705), x_reflection=True))
asc_dff_rst.add(gdstk.Reference(via_dev_1, (-46.87,38.475), rotation=3*pi/2, x_reflection=True))
asc_dff_rst.add(gdstk.Reference(via_dev_10, (-44.085,37.15), rotation=pi))
asc_dff_rst.add(gdstk.Reference(pfet_1, (-46.935,34.005), rotation=pi))
asc_dff_rst.add(gdstk.Label('clk', (-58.705,34.8), layer=34, texttype=10))
asc_dff_rst.add(gdstk.Label('VDD', (-59.02,29.13), layer=34, texttype=10))
asc_dff_rst.add(gdstk.Label('D', (-56.375,42.92), layer=34, texttype=10))
asc_dff_rst.add(gdstk.Label('rst', (-47.47,34.795), layer=34, texttype=10))
asc_dff_rst.add(gdstk.Label('Q', (-39.57,34.855), layer=34, texttype=10))
asc_dff_rst.add(gdstk.Label('VSS', (-58.945,39.215), layer=34, texttype=10))
asc_dff_rst.add(gdstk.Label('Qb', (-41.845,42.945), layer=36, texttype=10))

lib.write_gds('asc_dff_rst.gds')
